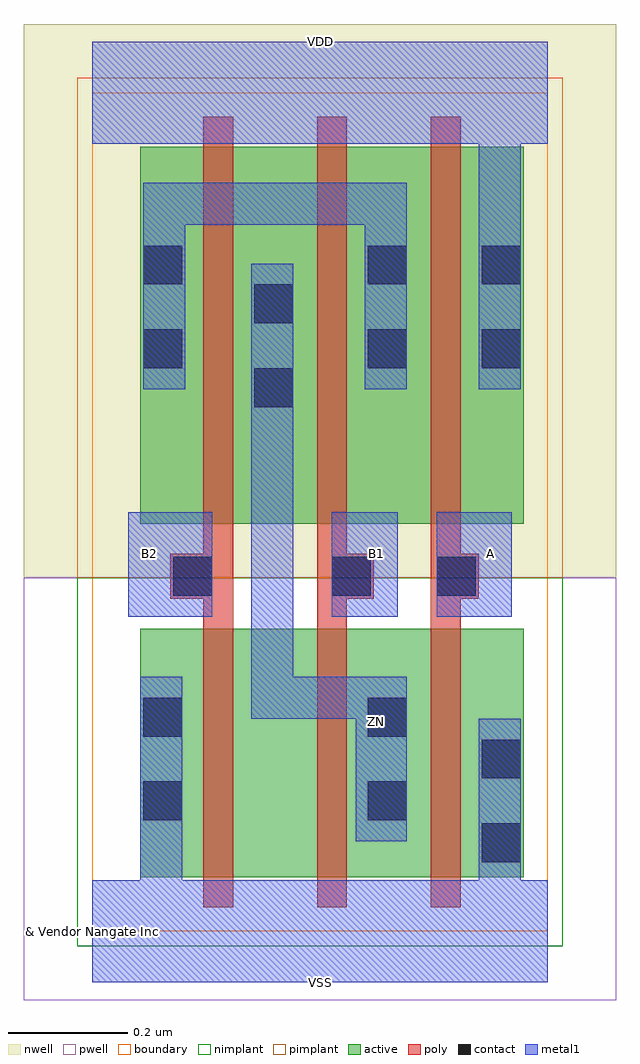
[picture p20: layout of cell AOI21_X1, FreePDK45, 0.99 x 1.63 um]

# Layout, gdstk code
import gdstk
lib = gdstk.Library(unit=1e-6, precision=1e-10)
def R(c, l, rs):  # rectangles x0, y0, x1, y1
    for r in rs: c.add(gdstk.rectangle(r[:2], r[2:], *l))
def P(c, l, *ps):  # polygons
    for p in ps: c.add(gdstk.Polygon(p, *l))
active = (1, 0)
pwell = (2, 0)
nwell = (3, 0)
nimplant = (4, 0)
pimplant = (5, 0)
poly = (9, 0)
contact = (10, 0)
metal1 = (11, 0)
boundary = (235, 0)

aoi21_x1 = lib.new_cell('AOI21_X1')
R(aoi21_x1, active, [(0.08,0.09,0.72,0.505), (0.08,0.68,0.72,1.31)])
R(aoi21_x1, pwell, [(-0.115,-0.115,0.875,0.59)])
R(aoi21_x1, nwell, [(-0.115,0.59,0.875,1.515)])
R(aoi21_x1, nimplant, [(-0.025,-0.025,0.785,0.59)])
R(aoi21_x1, pimplant, [(-0.025,0.59,0.785,1.425)])
P(aoi21_x1, poly, [(0.565,0.04),(0.565,1.36),(0.615,1.36),(0.615,0.63),(0.645,0.63),(0.645,0.555),(0.615,0.555),(0.615,0.04)],
  [(0.185,0.04),(0.185,0.555),(0.13,0.555),(0.13,0.63),(0.185,0.63),(0.185,1.36),(0.235,1.36),(0.235,0.04)],
  [(0.375,0.04),(0.375,1.36),(0.425,1.36),(0.425,0.63),(0.47,0.63),(0.47,0.555),(0.425,0.555),(0.425,0.04)])
R(aoi21_x1, contact, [(0.65,0.115,0.715,0.18), (0.085,0.185,0.15,0.25), (0.46,0.185,0.525,0.25), (0.65,0.255,0.715,0.32), (0.085,0.325,0.15,0.39), (0.46,0.325,0.525,0.39), (0.135,0.56,0.2,0.625), (0.4,0.56,0.465,0.625), (0.575,0.56,0.64,0.625), (0.27,0.875,0.335,0.94), (0.085,0.94,0.15,1.005), (0.46,0.94,0.525,1.005), (0.65,0.94,0.715,1.005), (0.27,1.015,0.335,1.08), (0.085,1.08,0.15,1.145), (0.46,1.08,0.525,1.145), (0.65,1.08,0.715,1.145)])
R(aoi21_x1, metal1, [(0.06,0.525,0.2,0.7), (0.4,0.525,0.51,0.7), (0.575,0.525,0.7,0.7)])
P(aoi21_x1, metal1, [(0.44,0.15),(0.44,0.355),(0.265,0.355),(0.265,1.115),(0.335,1.115),(0.335,0.425),(0.525,0.425),(0.525,0.15)],
  [(0.085,0.905),(0.085,1.25),(0.525,1.25),(0.525,0.905),(0.455,0.905),(0.455,1.18),(0.155,1.18),(0.155,0.905)],
  [(0,-0.085),(0,0.085),(0.08,0.085),(0.08,0.425),(0.15,0.425),(0.15,0.085),(0.645,0.085),(0.645,0.355),(0.715,0.355),(0.715,0.085),(0.76,0.085),(0.76,-0.085)],
  [(0.645,0.905),(0.645,1.315),(0,1.315),(0,1.485),(0.76,1.485),(0.76,1.315),(0.715,1.315),(0.715,0.905)])
R(aoi21_x1, boundary, [(0,0,0.76,1.4)])
aoi21_x1.add(gdstk.Label('A', (0.665,0.63), layer=11, texttype=0))
aoi21_x1.add(gdstk.Label('B1', (0.475,0.63), layer=11, texttype=0))
aoi21_x1.add(gdstk.Label('B2', (0.095,0.63), layer=11, texttype=0))
aoi21_x1.add(gdstk.Label('VDD', (0.38,1.485), layer=11, texttype=0))
aoi21_x1.add(gdstk.Label('VSS', (0.38,-0.085), layer=11, texttype=0))
aoi21_x1.add(gdstk.Label('ZN', (0.475,0.35), layer=11, texttype=0))
aoi21_x1.add(gdstk.Label('& Vendor Nangate Inc', (0,0), layer=63, texttype=63))
aoi21_x1.add(gdstk.Label('& Product Open Cell Library', (0,0), layer=63, texttype=63))
aoi21_x1.add(gdstk.Label('& Version 2010_12', (0,0), layer=63, texttype=63))
aoi21_x1.add(gdstk.Label('& Instance AOI21_X1', (0,0), layer=63, texttype=63))

lib.write_gds('AOI21_X1.gds')
